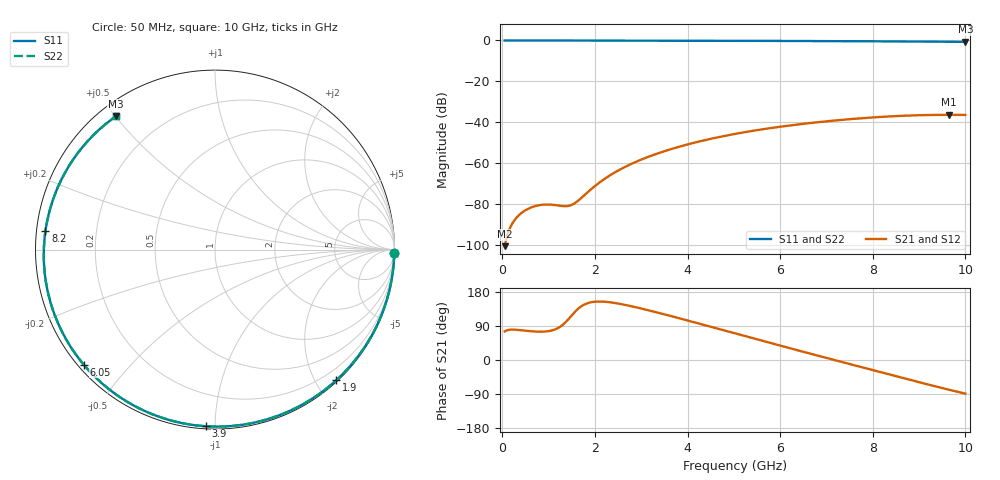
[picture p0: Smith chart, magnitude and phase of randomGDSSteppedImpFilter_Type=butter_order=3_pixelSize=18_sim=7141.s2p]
! freq	dB(S11)	phase(S11)	dB(S12)	phase(S12)
!  dB(S21)	phase(S21)	dB(S22)	phase(S22)
!S-par simulation data
#  GHz  S  DB  R 50
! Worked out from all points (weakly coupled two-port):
!   200 points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, 50 MHz to 10 GHz, reference 50 ohm
!   highest |S21| = -36.30 dB at 9.65 GHz (marker M1); lowest = -100.4 dB at 50 MHz (marker M2)
!   lowest |S11| = -0.7 dB at 10 GHz (marker M3), VSWR 25.78, Z = 2.43 + j25.1 ohm
!   |S11| at or under -10 dB: nowhere
!   |S22| runs from -0.7 to 0.0 dB; largest |S21 - S12| = 0
!   S11 on the Smith chart (normalised r, x): 50 MHz: 2, -93; 1.9 GHz: 0.02, -2.29; 3.9 GHz: 0.01, -0.95; 6.05 GHz: 0.02, -0.38; 8.2 GHz: 0.03, +0.05; 10 GHz: 0.05, +0.50
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0.05  -0.00 -1.2  -100.42 75.5  -100.42 75.5  -0.00 -1.2
0.75  -0.02 -18.9  -80.63 74.9  -80.63 74.9  -0.02 -18.9
1.5  -0.05 -37.4  -80.25 117.9  -80.25 117.9  -0.05 -37.4
1.6  -0.05 -39.8  -78.88 131.1  -78.88 131.1  -0.05 -39.8
1.75  -0.06 -43.5  -76.00 145.0  -76.00 145.0  -0.06 -43.5
1.9  -0.06 -47.1  -72.97 151.9  -72.97 151.9  -0.06 -47.1
2.2  -0.07 -54.2  -67.70 153.9  -67.70 153.9  -0.07 -54.2
2.55  -0.08 -62.5  -62.91 147.9  -62.91 147.9  -0.08 -62.5
2.95  -0.09 -71.7  -58.63 137.4  -58.63 137.4  -0.09 -71.7
3.4  -0.11 -81.9  -54.80 123.7  -54.80 123.7  -0.11 -81.9
3.9  -0.13 -93.0  -51.37 107.6  -51.37 107.6  -0.13 -92.9
4.45  -0.15 -104.9  -48.28 89.4  -48.28 89.4  -0.15 -104.9
5.05  -0.18 -117.7  -45.52 69.4  -45.52 69.4  -0.18 -117.7
5.55  -0.21 -128.3  -43.60 52.8  -43.60 52.8  -0.21 -128.2
6.05  -0.24 -138.8  -41.96 36.3  -41.96 36.3  -0.24 -138.8
6.7  -0.29 -152.6  -40.18 15.1  -40.18 15.1  -0.29 -152.6
7.45  -0.36 -169.0  -38.53 -9.0  -38.53 -9.0  -0.36 -168.9
8.2  -0.44 173.9  -37.29 -33.1  -37.29 -33.1  -0.44 173.9
8.35  -0.46 170.3  -37.10 -37.9  -37.10 -37.9  -0.46 170.3
9  -0.54 154.1  -36.49 -58.6  -36.49 -58.6  -0.54 154.2
9.65  -0.63 136.7  -36.30 -78.6  -36.30 -78.6  -0.63 136.7
10  -0.67 126.7  -36.36 -88.8  -36.36 -88.8  -0.67 126.7
